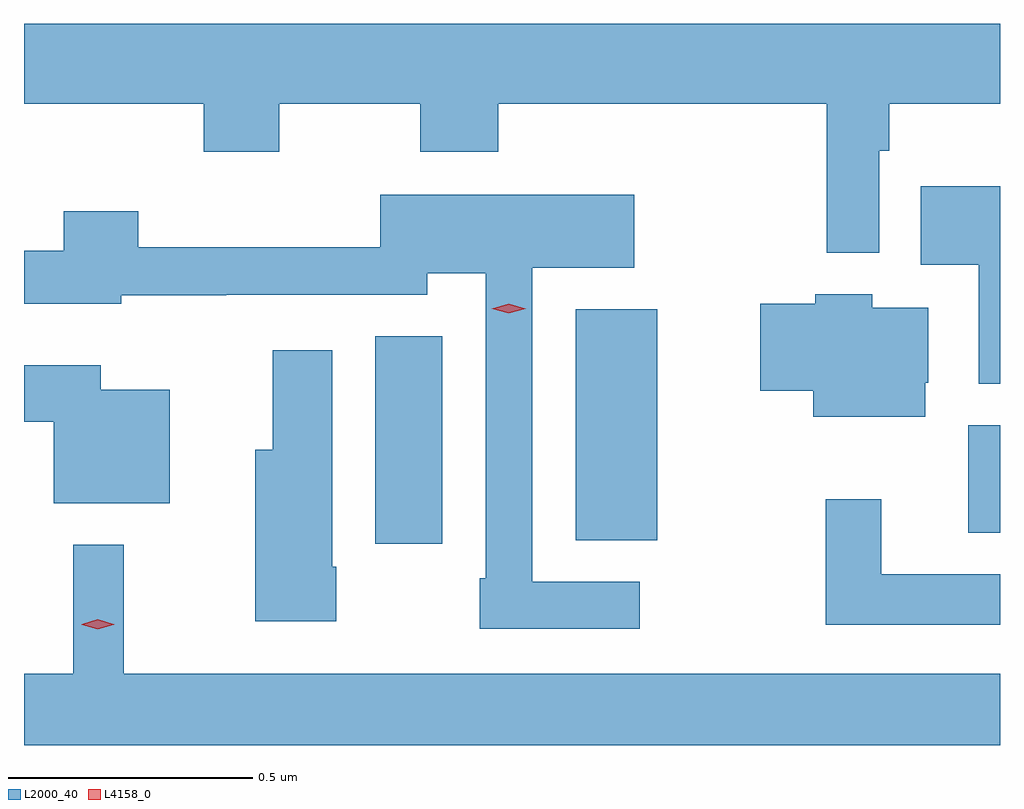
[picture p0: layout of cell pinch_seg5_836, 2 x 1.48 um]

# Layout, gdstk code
import gdstk
lib = gdstk.Library(unit=1e-6, precision=1e-09)
def R(c, l, rs):  # rectangles x0, y0, x1, y1
    for r in rs: c.add(gdstk.rectangle(r[:2], r[2:], *l))
def P(c, l, *ps):  # polygons
    for p in ps: c.add(gdstk.Polygon(p, *l))
L2000_40 = (2000, 40)
L4158_0 = (4158, 0)

pinch_seg5_836 = lib.new_cell('pinch_seg5_836')
R(pinch_seg5_836, L2000_40, [(765.416,887.826,765.553,888.251), (765.827,887.833,765.994,888.307), (766.631,887.849,766.696,888.069)])
P(pinch_seg5_836, L2000_40, [(766.449,888.632),(766.469,888.632),(766.469,888.728),(766.696,888.728),(766.696,888.892),(764.696,888.892),(764.696,888.728),(765.064,888.728),(765.064,888.629),(765.219,888.629),(765.219,888.728),(765.508,888.728),(765.508,888.629),(765.668,888.629),(765.668,888.728),(766.341,888.728),(766.341,888.422),(766.449,888.422)],
  [(766.696,888.559),(766.534,888.559),(766.534,888.398),(766.652,888.398),(766.652,888.154),(766.696,888.154)],
  [(765.958,887.748),(765.738,887.748),(765.738,888.392),(765.946,888.392),(765.946,888.541),(765.426,888.541),(765.426,888.434),(764.93,888.434),(764.93,888.508),(764.777,888.508),(764.777,888.427),(764.696,888.427),(764.696,888.318),(764.895,888.318),(764.895,888.335),(765.11,888.335),(765.11,888.336),(765.522,888.336),(765.522,888.38),(765.642,888.38),(765.642,887.755),(765.63,887.755),(765.63,887.652),(765.958,887.652)],
  [(766.543,888.156),(766.549,888.156),(766.549,888.31),(766.434,888.31),(766.434,888.337),(766.317,888.337),(766.317,888.318),(766.205,888.318),(766.205,888.14),(766.313,888.14),(766.313,888.086),(766.543,888.086)],
  [(765.336,887.779),(765.328,887.779),(765.328,888.223),(765.206,888.223),(765.206,888.019),(765.17,888.019),(765.17,887.667),(765.336,887.667)],
  [(764.995,888.142),(764.853,888.142),(764.853,888.192),(764.696,888.192),(764.696,888.076),(764.757,888.076),(764.757,887.909),(764.995,887.909)],
  [(766.696,887.764),(766.453,887.764),(766.453,887.917),(766.339,887.917),(766.339,887.66),(766.696,887.66)],
  [(766.696,887.56),(764.9,887.56),(764.9,887.824),(764.797,887.824),(764.797,887.56),(764.696,887.56),(764.696,887.413),(766.696,887.413)])
P(pinch_seg5_836, L4158_0, [(765.689,888.298),(765.654,888.308),(765.654,888.308),(765.654,888.308),(765.689,888.318),(765.724,888.308),(765.724,888.308),(765.724,888.308)],
  [(764.847,887.651),(764.814,887.66),(764.814,887.661),(764.814,887.661),(764.847,887.671),(764.88,887.661),(764.881,887.661),(764.88,887.66)])

lib.write_gds('pinch_seg5_836.gds')
